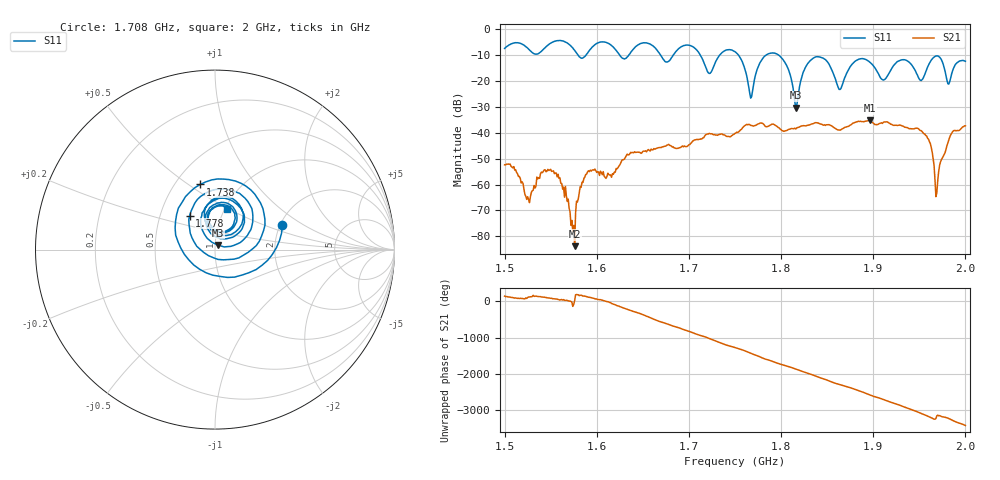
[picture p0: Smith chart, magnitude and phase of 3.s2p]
! NanoVNA-App by SYSJOINT et al v1.1.209 (+OD18)
! Date: 2026-01-21 14:20:25
! Start: 1,5GHz Stop: 2GHz Points: 501
! S-Parameter data: F S11 S21 S12 S22
# Hz S RI R 50
!  Frequency  S11_Real  S11_Imag  S21_Real  S21_Imag  S12_Real  S12_Imag  S22_Real  S22_Imag
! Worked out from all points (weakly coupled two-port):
!   501 points, 1.5 GHz to 2 GHz, reference 50 ohm
!   highest |S21| = -35.29 dB at 1.896 GHz (marker M1); lowest = -83.8 dB at 1.576 GHz (marker M2)
!   lowest |S11| = -30.4 dB at 1.816 GHz (marker M3), VSWR 1.06, Z = 51.6 + j2.64 ohm
!   |S11| at or under -10 dB: 1.712 GHz to 1.734 GHz (21.42 MHz wide, 1.24 % of centre); 1.754 GHz to 1.784 GHz (30.53 MHz wide, 1.73 % of centre); 1.797 GHz to end of sweep (the widest 3 of 6)
!   S12 and S22 are empty: the file has one direction only
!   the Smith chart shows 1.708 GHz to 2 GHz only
!   S11 on the Smith chart (normalised r, x): 1.708 GHz: 2.06, +0.67; 1.738 GHz: 0.66, +0.56; 1.778 GHz: 0.71, +0.28; 2 GHz: 1.02, +0.49
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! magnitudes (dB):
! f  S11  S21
! 1.5 GHz  -7.5  -52.4
! 1.525 GHz  -7.4  -64.7
! 1.554 GHz  -4.8  -55.8
! 1.576 GHz  -8.3  -83.8
! 1.584 GHz  -11.3  -59.1
! 1.667 GHz  -8.9  -45.8
! 1.708 GHz  -8.0  -42.7
! 1.722 GHz  -17.2  -40.3
! 1.738 GHz  -8.6  -40.8
! 1.75 GHz  -8.8  -40.3
! 1.767 GHz  -26.7  -37.2
! 1.778 GHz  -12.5  -36.3
! 1.8 GHz  -11.0  -38.8
! 1.816 GHz  -30.4  -38.6
! 1.834 GHz  -11.5  -36.6
! 1.864 GHz  -23.3  -39.0
! 1.896 GHz  -12.7  -35.3
! 1.917 GHz  -17.2  -36.3
! 1.958 GHz  -15.6  -41.3
! 1.969 GHz  -10.4  -63.2
! 1.982 GHz  -21.3  -42.9
! 2 GHz  -12.5  -37.4
